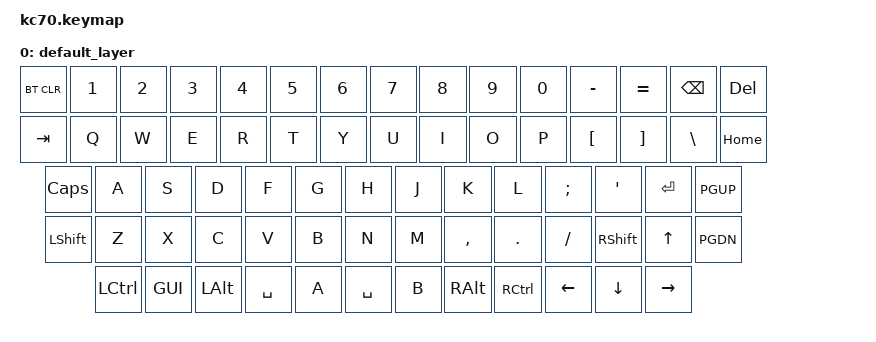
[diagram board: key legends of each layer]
#include <behaviors.dtsi>
#include <dt-bindings/zmk/keys.h>
#include <dt-bindings/zmk/bt.h>

/ {
    keymap {
        compatible = "zmk,keymap";

        default_layer {
            bindings = <
    &bt BT_CLR    &kp N1   &kp N2   &kp N3    &kp N4    &kp N5     &kp N6    &kp N7    &kp N8    &kp N9    &kp N0   &kp MINUS  &kp EQUAL &kp BSPC &kp DEL
    &kp TAB    &kp Q    &kp W    &kp E     &kp R     &kp T      &kp Y     &kp U     &kp I     &kp O     &kp P    &kp LBKT   &kp RBKT  &kp BSLH &kp HOME
    &kp CAPS   &kp A    &kp S    &kp D     &kp F     &kp G      &kp H     &kp J     &kp K     &kp L     &kp SEMI &kp SQT    &kp RET   &kp PGUP
    &kp LSHIFT &kp Z    &kp X    &kp C     &kp V     &kp B      &kp N     &kp M     &kp COMMA &kp DOT   &kp FSLH &kp RSHIFT &kp UP    &kp PGDN
    &kp LCTRL  &kp GUI  &kp LALT &kp SPACE &kp A     &kp SPACE  &kp B     &kp RALT  &kp RCTRL &kp LEFT  &kp DOWN &kp RIGHT
            >;
        };
    };
};
